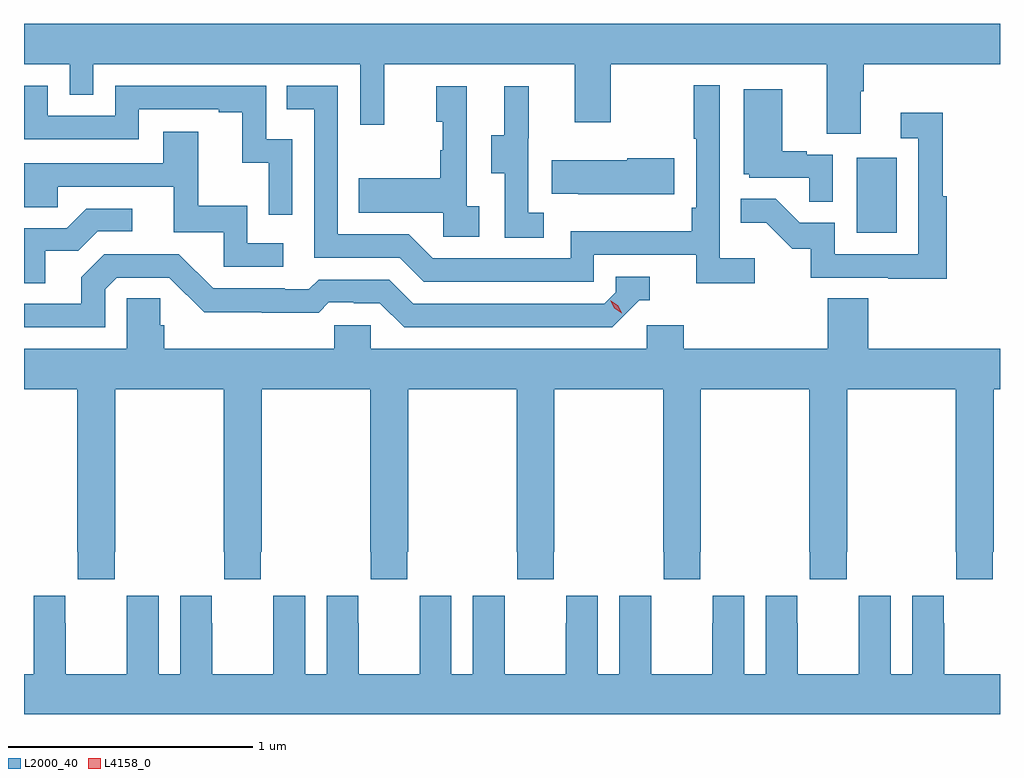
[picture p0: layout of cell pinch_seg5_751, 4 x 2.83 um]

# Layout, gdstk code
import gdstk
lib = gdstk.Library(unit=1e-6, precision=1e-09)
def R(c, l, rs):  # rectangles x0, y0, x1, y1
    for r in rs: c.add(gdstk.rectangle(r[:2], r[2:], *l))
def P(c, l, *ps):  # polygons
    for p in ps: c.add(gdstk.Polygon(p, *l))
L2000_40 = (2000, 40)
L4158_0 = (4158, 0)

pinch_seg5_751 = lib.new_cell('pinch_seg5_751')
R(pinch_seg5_751, L2000_40, [(843.128,912.012,843.292,912.319)])
P(pinch_seg5_751, L2000_40, [(839.716,912.704),(839.904,912.704),(839.904,912.577),(840,912.577),(840,912.704),(841.095,912.704),(841.095,912.456),(841.193,912.456),(841.193,912.704),(841.973,912.704),(841.973,912.465),(842.121,912.465),(842.121,912.704),(843.005,912.704),(843.005,912.418),(843.145,912.418),(843.145,912.592),(843.158,912.592),(843.158,912.704),(843.716,912.704),(843.716,912.868),(839.716,912.868)],
  [(842.71,911.908),(842.568,911.908),(842.568,912.616),(842.46,912.616),(842.46,912.397),(842.472,912.397),(842.472,912.115),(842.452,912.115),(842.452,912.019),(841.956,912.019),(841.956,911.907),(841.392,911.907),(841.293,912.006),(841.002,912.006),(841.002,912.615),(840.793,912.615),(840.793,912.519),(840.906,912.519),(840.906,911.91),(841.256,911.91),(841.355,911.811),(842.052,911.811),(842.052,911.922),(842.471,911.922),(842.471,911.806),(842.71,911.806)],
  [(840.816,912.396),(840.708,912.396),(840.708,912.615),(840.09,912.615),(840.09,912.492),(839.814,912.492),(839.814,912.615),(839.716,912.615),(839.716,912.519),(839.718,912.519),(839.718,912.396),(840.186,912.396),(840.186,912.519),(840.515,912.519),(840.515,912.507),(840.611,912.507),(840.611,912.299),(840.72,912.299),(840.72,912.087),(840.816,912.087)],
  [(841.846,912.095),(841.782,912.095),(841.782,912.399),(841.784,912.399),(841.784,912.613),(841.685,912.613),(841.685,912.411),(841.631,912.411),(841.631,912.256),(841.686,912.256),(841.686,911.992),(841.846,911.992)],
  [(841.582,912.122),(841.53,912.122),(841.53,912.613),(841.406,912.613),(841.406,912.468),(841.432,912.468),(841.432,912.35),(841.422,912.35),(841.422,912.235),(841.087,912.235),(841.087,912.095),(841.434,912.095),(841.434,911.997),(841.582,911.997)],
  [(843.03,912.333),(842.924,912.333),(842.924,912.346),(842.824,912.346),(842.824,912.601),(842.666,912.601),(842.666,912.252),(842.688,912.252),(842.688,912.237),(842.935,912.237),(842.935,912.139),(843.03,912.139)],
  [(843.497,912.162),(843.482,912.162),(843.482,912.505),(843.309,912.505),(843.309,912.399),(843.381,912.399),(843.381,911.925),(843.039,911.925),(843.039,912.054),(842.895,912.054),(842.797,912.152),(842.653,912.152),(842.653,912.053),(842.757,912.053),(842.864,911.946),(842.941,911.946),(842.941,911.829),(843.259,911.829),(843.259,911.824),(843.497,911.824)],
  [(840.778,911.97),(840.63,911.97),(840.63,912.124),(840.431,912.124),(840.431,912.427),(840.287,912.427),(840.287,912.297),(839.718,912.297),(839.718,912.117),(839.855,912.117),(839.855,912.201),(840.329,912.201),(840.329,912.015),(840.534,912.015),(840.534,911.874),(840.778,911.874)],
  [(842.38,912.318),(842.189,912.318),(842.189,912.31),(841.879,912.31),(841.879,912.173),(841.987,912.173),(841.987,912.17),(842.38,912.17)],
  [(839.803,911.938),(839.938,911.938),(840.018,912.018),(840.16,912.018),(840.16,912.111),(839.972,912.111),(839.891,912.03),(839.716,912.03),(839.716,911.806),(839.803,911.806)],
  [(840.048,911.781),(840.096,911.829),(840.312,911.829),(840.454,911.687),(840.69,911.687),(840.69,911.685),(840.923,911.685),(840.965,911.727),(841.068,911.727),(841.068,911.724),(841.175,911.724),(841.274,911.625),(842.127,911.625),(842.238,911.736),(842.281,911.736),(842.281,911.832),(842.142,911.832),(842.142,911.769),(842.094,911.721),(841.311,911.721),(841.212,911.82),(840.923,911.82),(840.884,911.781),(840.785,911.781),(840.785,911.784),(840.492,911.784),(840.351,911.925),(840.045,911.925),(839.951,911.831),(839.951,911.721),(839.716,911.721),(839.716,911.625),(840.048,911.625)],
  [(840.535,910.705),(840.537,910.705),(840.537,910.593),(840.687,910.593),(840.687,910.705),(840.69,910.705),(840.69,911.372),(841.135,911.372),(841.135,910.705),(841.137,910.705),(841.137,910.593),(841.287,910.593),(841.287,910.705),(841.29,910.705),(841.29,911.372),(841.735,911.372),(841.735,910.705),(841.737,910.705),(841.737,910.593),(841.887,910.593),(841.887,910.705),(841.89,910.705),(841.89,911.372),(842.335,911.372),(842.335,910.705),(842.337,910.705),(842.337,910.593),(842.487,910.593),(842.487,910.705),(842.49,910.705),(842.49,911.372),(842.935,911.372),(842.935,910.705),(842.937,910.705),(842.937,910.593),(843.087,910.593),(843.087,910.705),(843.09,910.705),(843.09,911.372),(843.535,911.372),(843.535,910.705),(843.537,910.705),(843.537,910.593),(843.687,910.593),(843.687,910.705),(843.69,910.705),(843.69,911.372),(843.716,911.372),(843.716,911.536),(843.176,911.536),(843.176,911.744),(843.011,911.744),(843.011,911.536),(842.42,911.536),(842.42,911.634),(842.268,911.634),(842.268,911.536),(841.137,911.536),(841.137,911.634),(840.987,911.634),(840.987,911.536),(840.29,911.536),(840.29,911.634),(840.275,911.634),(840.275,911.744),(840.138,911.744),(840.138,911.536),(839.716,911.536),(839.716,911.372),(839.935,911.372),(839.935,910.705),(839.937,910.705),(839.937,910.593),(840.087,910.593),(840.087,910.705),(840.09,910.705),(840.09,911.372),(840.535,911.372)],
  [(843.716,910.204),(843.487,910.204),(843.487,910.412),(843.486,910.412),(843.486,910.525),(843.356,910.525),(843.356,910.204),(843.268,910.204),(843.268,910.525),(843.138,910.525),(843.138,910.412),(843.137,910.412),(843.137,910.204),(842.887,910.204),(842.887,910.412),(842.886,910.412),(842.886,910.525),(842.756,910.525),(842.756,910.204),(842.668,910.204),(842.668,910.525),(842.538,910.525),(842.538,910.412),(842.537,910.412),(842.537,910.204),(842.287,910.204),(842.287,910.412),(842.286,910.412),(842.286,910.525),(842.156,910.525),(842.156,910.204),(842.068,910.204),(842.068,910.525),(841.938,910.525),(841.938,910.412),(841.937,910.412),(841.937,910.204),(841.687,910.204),(841.687,910.412),(841.686,910.412),(841.686,910.525),(841.556,910.525),(841.556,910.204),(841.468,910.204),(841.468,910.525),(841.338,910.525),(841.338,910.412),(841.337,910.412),(841.337,910.204),(841.087,910.204),(841.087,910.412),(841.086,910.412),(841.086,910.525),(840.956,910.525),(840.956,910.204),(840.868,910.204),(840.868,910.525),(840.738,910.525),(840.738,910.412),(840.737,910.412),(840.737,910.204),(840.487,910.204),(840.487,910.412),(840.486,910.412),(840.486,910.525),(840.356,910.525),(840.356,910.204),(840.268,910.204),(840.268,910.525),(840.138,910.525),(840.138,910.412),(840.137,910.412),(840.137,910.204),(839.887,910.204),(839.887,910.412),(839.886,910.412),(839.886,910.525),(839.756,910.525),(839.756,910.204),(839.716,910.204),(839.716,910.04),(843.716,910.04)])
P(pinch_seg5_751, L4158_0, [(842.166,911.683),(842.135,911.703),(842.118,911.735),(842.118,911.735),(842.119,911.735),(842.149,911.716),(842.166,911.684),(842.166,911.683)])

lib.write_gds('pinch_seg5_751.gds')
